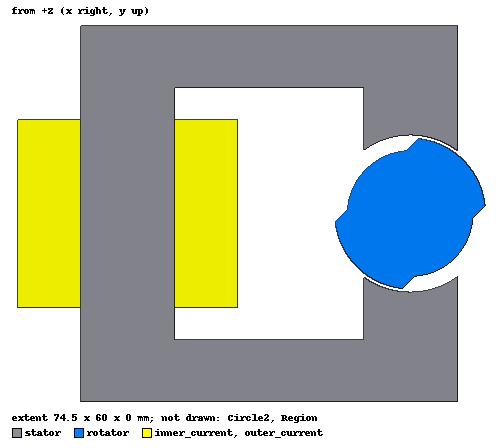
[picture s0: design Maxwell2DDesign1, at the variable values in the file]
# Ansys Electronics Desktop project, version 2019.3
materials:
  vacuum: permittivity=1
  lead: permeability=0.999983 conductivity=5000000
  iron: permeability=4000 conductivity=10300000
  copper: permeability=0.999991 conductivity=58000000
  steel_1008: permeability{HUnit=A_per_meter BUnit=tesla curve (0, 0) (159.2, 0.2402) (318.3, 0.8654) (477.5, 1.1106) (636.6, 1.2458) (795.8, 1.331) (1591.5, 1.5) (3183.1, 1.6) (4774.6, 1.683) (6366.2, 1.741) (7957.7, 1.78) (15915.5, 1.905) (31831, 2.025) (47746.5, 2.085) (63662, 2.13) (79577.5, 2.165) (159155, 2.28) (318310, 2.485) (397887, 2.5851)} conductivity=2000000

design Maxwell2DDesign1 (Maxwell 2D, Transient, XY geometry, model units mm)
options: ComputeTransientInductance ModelDepth=20mm Multiplier=1
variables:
  r_inner = 10mm
  rect_inner_x = 15mm
  rect_inner_y = 18.7338mm
  r_outer = 12mm
  r_envelope = 12.5mm
  stator_width = 15mm
  stator_length = 40mm
  inner_space = 30mm
  length = 60mm
  copper_x = 10mm
  copper_y = 30mm
  r_band = 12.4mm
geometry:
  circle_inner = circle(normal=Z, centre=(0mm, 0mm, 0mm), radius=r_inner)
  Rectangle1 = rectangle(corner=(-rect_inner_x/2, -rect_inner_y/2 -5mm, 0mm), x_size=rect_inner_x, y_size=rect_inner_y+10mm)
  circle_inner.subtract(Rectangle1)
  rotator [iron] = circle(normal=Z, centre=(0mm, 0mm, 0mm), radius=r_outer)
  Rectangle2 = rectangle(corner=(-rect_inner_x/2, -rect_inner_y/2, 0mm), x_size=rect_inner_x, y_size=rect_inner_y)
  Rectangle2.unite(circle_inner)
  Rectangle3 = rectangle(corner=(-12mm, -rect_inner_y/2, 0mm), x_size=24mm, y_size=rect_inner_y)
  rotator.subtract(Rectangle3)
  rotator.unite(Rectangle2)
  rotator.rotate(axis=Z, angle=-45deg)
  Circle1 = circle(normal=Z, centre=(0mm, 0mm, 0mm), radius=r_envelope)
  Rectangle4 = rectangle(corner=(-stator_width/2, -stator_length/2, 0mm), x_size=-inner_space, y_size=stator_length)
  stator [iron] = rectangle(corner=(stator_width/2, -length/2, 0mm), x_size=-length, y_size=length)
  stator.subtract(Rectangle4)
  stator.subtract(Circle1)
  inner_current [copper] = rectangle(corner=(-length/2-stator_width/2, -copper_y/2, 0mm), x_size=copper_x, y_size=copper_y)
  outer_current [copper] = rectangle(corner=(-length +stator_width/2-copper_x, -copper_y/2, 0mm), x_size=copper_x, y_size=copper_y)
  Region [vacuum] = region(percentage_offset: +X=20, -X=30, +Y=60, -Y=60, +Z=0, -Z=0)
  Circle2 [vacuum] = circle(normal=Z, centre=(0mm, 0mm, 0mm), radius=r_band)
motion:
  MotionSetup1: Band Move_Type=Rotate Coordinate_System=Global Axis=Z Is_Positive=true InitPos=-40deg Angular_Velocity=0rpm Moment_of_Inertia=0.0001 Damping=0 Load_Torque=0NewtonMeter Objects=Circle2
  Moving1: Moving Objects=rotator
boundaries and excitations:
  VectorPotential1: Vector Potential Edges=Region.edge(all 4) Value=0
  inner_current: Coil Objects=inner_current Conductor_number=250 Winding=Winding1 PolarityType=Positive
  outer_current: Coil Objects=outer_current Conductor_number=250 Winding=Winding1 PolarityType=Negative
  Winding1: Winding Group Type=Current IsSolid=false Current=3A ParallelBranchesNum=1
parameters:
  Torque1: Torque Coordinate_System=Global Is_Positive=true Objects=rotator
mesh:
  Length1: LengthBased RefineInside Objects=Circle2 MaxLength="(4.96/2) mm"
  initial mesh: MeshMethod=AnsoftTAU
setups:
  Setup1: Transient NonlinearSolverResidual=0.0001 StopTime=1s TimeStep=2ms SaveFieldsType="Every N Steps" N_Steps=5 Steps_From=0s Steps_To=1s NumberSolveSteps=1 RangeStart=0s RangeEnd=0.1s InitialTimeStep=0.002s MinTimeStep=0.001s MaxTimeStep=0.003s TimeStepErrTolerance=0.0001
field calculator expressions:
  energy1 = energy | EnterVolume(AllObjects) | VolumeValue | Integrate
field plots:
  B_Vector1: B over rotator, stator, inner_current, outer_current, Region, Circle2 on Setup1 : Transient at Time=-1
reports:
  Torque Plot: Torque1.Torque vs Time on Setup1 : Transient
  Winding Plot 1: L(Winding1,Winding1) vs Time on Setup1 : Transient
  Torque Plot 2: Torque1.Torque vs Time on Setup1 : Transient
  Calculator Expressions Table 1: energy1 vs Time on Setup1 : Transient
  Calculator Expressions Plot 1: energy1 vs Time on Setup1 : Transient
  Torque Plot 3: Torque1.Torque vs Moving1.Position on Setup1 : Transient
  Winding Plot 2: L(Winding1,Winding1) vs Moving1.Position on Setup1 : Transient
